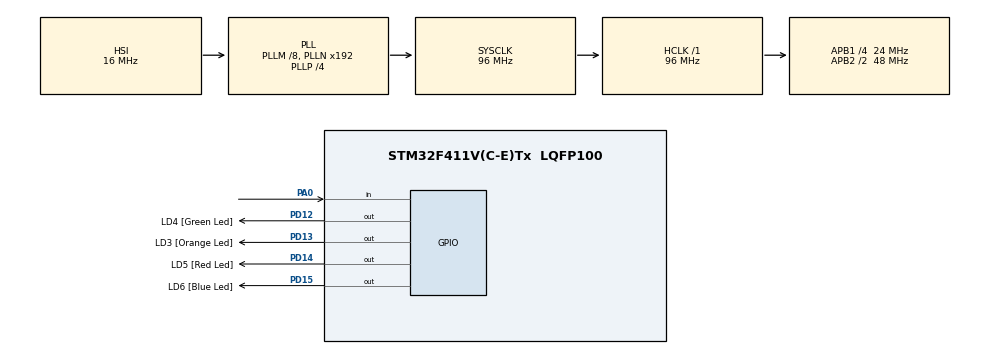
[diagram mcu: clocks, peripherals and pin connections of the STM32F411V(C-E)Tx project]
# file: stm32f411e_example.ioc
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FREERTOS.Tasks01=defaultTask,0,128,StartDefaultTask,Default,NULL
Mcu.Family=STM32F4
Mcu.Name=STM32F411V(C-E)Tx
Mcu.Package=LQFP100
NVIC.PriorityGroup=NVIC_PRIORITYGROUP_4
NVIC.TIM1_UP_TIM10_IRQn=true\:0\:0\:false\:false\:true\:false\:false
NVIC.TimeBase=TIM1_UP_TIM10_IRQn
NVIC.TimeBaseIP=TIM1
PA0-WKUP.Signal=GPIO_Input
PD12.GPIO_Label=LD4 [Green Led]
PD12.GPIO_PuPd=GPIO_NOPULL
PD12.GPIO_Speed=GPIO_SPEED_FREQ_LOW
PD12.Signal=GPIO_Output
PD13.GPIO_Label=LD3 [Orange Led]
PD13.GPIO_PuPd=GPIO_NOPULL
PD13.GPIO_Speed=GPIO_SPEED_FREQ_LOW
PD13.Signal=GPIO_Output
PD14.GPIO_Label=LD5 [Red Led]
PD14.GPIO_PuPd=GPIO_NOPULL
PD14.GPIO_Speed=GPIO_SPEED_FREQ_LOW
PD14.Signal=GPIO_Output
PD15.GPIO_Label=LD6 [Blue Led]
PD15.GPIO_PuPd=GPIO_NOPULL
PD15.GPIO_Speed=GPIO_SPEED_FREQ_LOW
PD15.Signal=GPIO_Output
ProjectManager.HeapSize=0x200
ProjectManager.StackSize=0x400
ProjectManager.TargetToolchain=SW4STM32
RCC.48MHZClocksFreq_Value=48000000
RCC.AHBFreq_Value=96000000
RCC.APB1CLKDivider=RCC_HCLK_DIV4
RCC.APB1Freq_Value=24000000
RCC.APB1TimFreq_Value=48000000
RCC.APB2CLKDivider=RCC_HCLK_DIV2
RCC.APB2Freq_Value=48000000
RCC.APB2TimFreq_Value=96000000
RCC.CortexFreq_Value=96000000
RCC.HCLKFreq_Value=96000000
RCC.HSE_VALUE=8000000
RCC.HSI_VALUE=16000000
RCC.LSE_VALUE=32768
RCC.PLLI2SM=5
RCC.PLLI2SN=200
RCC.PLLM=8
RCC.PLLP=RCC_PLLP_DIV4
RCC.PLLQ=8
RCC.SYSCLKFreq_VALUE=96000000
RCC.SYSCLKSource=RCC_SYSCLKSOURCE_PLLCLK
RCC.VCOOutputFreq_Value=384000000
VP_FREERTOS_VS_ENABLE.Mode=Enabled
VP_SYS_VS_tim1.Mode=TIM1
board=STM32F411E-DISCO

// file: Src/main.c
/**
  ******************************************************************************
  * File Name          : main.c
  * Description        : Main program body
  ******************************************************************************
  * This notice applies to any and all portions of this file
  * that are not between comment pairs USER CODE BEGIN and
  * USER CODE END. Other portions of this file, whether
  * inserted by the user or by software development tools
  * are owned by their respective copyright owners.
  *
  * Copyright (c) 2018 STMicroelectronics International N.V.
  * All rights reserved.
  *
  * Redistribution and use in source and binary forms, with or without
  * modification, are permitted, provided that the following conditions are met:
  *
  * 1. Redistribution of source code must retain the above copyright notice,
  *    this list of conditions and the following disclaimer.
  * 2. Redistributions in binary form must reproduce the above copyright notice,
  *    this list of conditions and the following disclaimer in the documentation
  *    and/or other materials provided with the distribution.
  * 3. Neither the name of STMicroelectronics nor the names of other
  *    contributors to this software may be used to endorse or promote products
  *    derived from this software without specific written permission.
  * 4. This software, including modifications and/or derivative works of this
  *    software, must execute solely and exclusively on microcontroller or
  *    microprocessor devices manufactured by or for STMicroelectronics.
  * 5. Redistribution and use of this software other than as permitted under
  *    this license is void and will automatically terminate your rights under
  *    this license.
  *
  * THIS SOFTWARE IS PROVIDED BY STMICROELECTRONICS AND CONTRIBUTORS "AS IS"
  * AND ANY EXPRESS, IMPLIED OR STATUTORY WARRANTIES, INCLUDING, BUT NOT
  * LIMITED TO, THE IMPLIED WARRANTIES OF MERCHANTABILITY, FITNESS FOR A
  * PARTICULAR PURPOSE AND NON-INFRINGEMENT OF THIRD PARTY INTELLECTUAL PROPERTY
  * RIGHTS ARE DISCLAIMED TO THE FULLEST EXTENT PERMITTED BY LAW. IN NO EVENT
  * SHALL STMICROELECTRONICS OR CONTRIBUTORS BE LIABLE FOR ANY DIRECT, INDIRECT,
  * INCIDENTAL, SPECIAL, EXEMPLARY, OR CONSEQUENTIAL DAMAGES (INCLUDING, BUT NOT
  * LIMITED TO, PROCUREMENT OF SUBSTITUTE GOODS OR SERVICES; LOSS OF USE, DATA,
  * OR PROFITS; OR BUSINESS INTERRUPTION) HOWEVER CAUSED AND ON ANY THEORY OF
  * LIABILITY, WHETHER IN CONTRACT, STRICT LIABILITY, OR TORT (INCLUDING
  * NEGLIGENCE OR OTHERWISE) ARISING IN ANY WAY OUT OF THE USE OF THIS SOFTWARE,
  * EVEN IF ADVISED OF THE POSSIBILITY OF SUCH DAMAGE.
  *
  ******************************************************************************
  */

#include "main.h"
#include "stm32f4xx_hal.h"
#include "cmsis_os.h"

osThreadId defaultTaskHandle;

/* USER CODE BEGIN PV */
/* Private variables ---------------------------------------------------------*/
static osThreadId blinkLightsHandle;
static osThreadId buttonPressHandle;

/* USER CODE END PV */

void SystemClock_Config(void);
static void MX_GPIO_Init(void);
void StartDefaultTask(void const * argument);

/* USER CODE BEGIN PFP */
/* Private function prototypes -----------------------------------------------*/
void blinkTheLightsTask(void const* argument);
void buttonPressTask(void const* argument);
/* USER CODE END PFP */

int main(void)
{

  /* MCU Configuration----------------------------------------------------------*/

  /* Reset of all peripherals, Initializes the Flash interface and the Systick. */
  HAL_Init();

  /* Configure the system clock */
  SystemClock_Config();

  /* Initialize all configured peripherals */
  MX_GPIO_Init();

  /* Create the thread(s) */
  /* definition and creation of defaultTask */
  osThreadDef(defaultTask, StartDefaultTask, osPriorityNormal, 0, 128);
  defaultTaskHandle = osThreadCreate(osThread(defaultTask), NULL);

  /* USER CODE BEGIN RTOS_THREADS */
    osThreadDef(blinkLightsTask, blinkTheLightsTask, osPriorityNormal, 1, 2 * configMINIMAL_STACK_SIZE);
    blinkLightsHandle = osThreadCreate(osThread(blinkLightsTask), NULL);

    osThreadDef(buttonPress, buttonPressTask, osPriorityHigh, 1, 2*configMINIMAL_STACK_SIZE);
    buttonPressHandle = osThreadCreate(osThread(buttonPress), NULL);

  /* USER CODE END RTOS_THREADS */

  /* Start scheduler */
  osKernelStart();

  /* We should never get here as control is now taken by the scheduler */

  /* Infinite loop */
    while (1)
    {

    }

}

/** System Clock Configuration
*/
void SystemClock_Config(void)
{

  RCC_OscInitTypeDef RCC_OscInitStruct;
  RCC_ClkInitTypeDef RCC_ClkInitStruct;

    /**Configure the main internal regulator output voltage
    */
  __HAL_RCC_PWR_CLK_ENABLE();

  __HAL_PWR_VOLTAGESCALING_CONFIG(PWR_REGULATOR_VOLTAGE_SCALE1);

    /**Initializes the CPU, AHB and APB busses clocks
    */
  RCC_OscInitStruct.OscillatorType = RCC_OSCILLATORTYPE_HSI;
  RCC_OscInitStruct.HSIState = RCC_HSI_ON;
  RCC_OscInitStruct.HSICalibrationValue = 16;
  RCC_OscInitStruct.PLL.PLLState = RCC_PLL_ON;
  RCC_OscInitStruct.PLL.PLLSource = RCC_PLLSOURCE_HSI;
  RCC_OscInitStruct.PLL.PLLM = 8;
  RCC_OscInitStruct.PLL.PLLN = 192;
  RCC_OscInitStruct.PLL.PLLP = RCC_PLLP_DIV4;
  RCC_OscInitStruct.PLL.PLLQ = 8;
  if (HAL_RCC_OscConfig(&RCC_OscInitStruct) != HAL_OK)
  {
    _Error_Handler(__FILE__, __LINE__);
  }

    /**Initializes the CPU, AHB and APB busses clocks
    */
  RCC_ClkInitStruct.ClockType = RCC_CLOCKTYPE_HCLK|RCC_CLOCKTYPE_SYSCLK
                              |RCC_CLOCKTYPE_PCLK1|RCC_CLOCKTYPE_PCLK2;
  RCC_ClkInitStruct.SYSCLKSource = RCC_SYSCLKSOURCE_PLLCLK;
  RCC_ClkInitStruct.AHBCLKDivider = RCC_SYSCLK_DIV1;
  RCC_ClkInitStruct.APB1CLKDivider = RCC_HCLK_DIV4;
  RCC_ClkInitStruct.APB2CLKDivider = RCC_HCLK_DIV2;

  if (HAL_RCC_ClockConfig(&RCC_ClkInitStruct, FLASH_LATENCY_3) != HAL_OK)
  {
    _Error_Handler(__FILE__, __LINE__);
  }

    /**Configure the Systick interrupt time
    */
  HAL_SYSTICK_Config(HAL_RCC_GetHCLKFreq()/1000);

    /**Configure the Systick
    */
  HAL_SYSTICK_CLKSourceConfig(SYSTICK_CLKSOURCE_HCLK);

  /* SysTick_IRQn interrupt configuration */
  HAL_NVIC_SetPriority(SysTick_IRQn, 15, 0);
}

/** Configure pins as
        * Analog
        * Input
        * Output
        * EVENT_OUT
        * EXTI
*/
static void MX_GPIO_Init(void)
{

  GPIO_InitTypeDef GPIO_InitStruct;

  /* GPIO Ports Clock Enable */
  __HAL_RCC_GPIOA_CLK_ENABLE();
  __HAL_RCC_GPIOD_CLK_ENABLE();

  /*Configure GPIO pin Output Level */
  HAL_GPIO_WritePin(GPIOD, LD4_Pin|LD3_Pin|LD5_Pin|LD6_Pin, GPIO_PIN_RESET);

  /*Configure GPIO pin : PA0 */
  GPIO_InitStruct.Pin = GPIO_PIN_0;
  GPIO_InitStruct.Mode = GPIO_MODE_INPUT;
  GPIO_InitStruct.Pull = GPIO_NOPULL;
  HAL_GPIO_Init(GPIOA, &GPIO_InitStruct);

  /*Configure GPIO pins : LD4_Pin LD3_Pin LD5_Pin LD6_Pin */
  GPIO_InitStruct.Pin = LD4_Pin|LD3_Pin|LD5_Pin|LD6_Pin;
  GPIO_InitStruct.Mode = GPIO_MODE_OUTPUT_PP;
  GPIO_InitStruct.Pull = GPIO_NOPULL;
  GPIO_InitStruct.Speed = GPIO_SPEED_FREQ_LOW;
  HAL_GPIO_Init(GPIOD, &GPIO_InitStruct);

}

/* USER CODE BEGIN 4 */
/*Blinks blue LED6 at 0.5 Hz*/

void blinkTheLightsTask(void const* argument)
{
    int toggle = 0;

    for (;;)
    {
        osDelay(100); //RTOS task delay function
        HAL_GPIO_TogglePin(LD6_GPIO_Port, LD6_Pin);

    }
}

void buttonPressTask(void const* argument){
	 volatile int pushed = 0;
HAL_GPIO_WritePin(LD3_GPIO_Port, LD3_Pin, 1);

osDelay(100);

	for(;;){
		osDelay(100);
	pushed = HAL_GPIO_ReadPin(GPIOA, GPIO_PIN_0);

	        if(pushed){
	        	HAL_GPIO_WritePin(LD3_GPIO_Port, LD3_Pin, 1);
	        }
	        else{
	        	HAL_GPIO_WritePin(LD3_GPIO_Port, LD3_Pin, 0);
	        }
}
}

/* USER CODE END 4 */

/* StartDefaultTask function */
void StartDefaultTask(void const * argument)
{

  /* USER CODE BEGIN 5 */
    /* Infinite loop */

    for (;;)
    {
        osDelay(1000);
    }

  /* USER CODE END 5 */
}

void HAL_TIM_PeriodElapsedCallback(TIM_HandleTypeDef *htim)
{
  if (htim->Instance == TIM1) {
    HAL_IncTick();
  }
}

void _Error_Handler(char * file, int line)
{
    while (1)
    {
    }
}

/************************ (C) COPYRIGHT STMicroelectronics *****END OF FILE****/
